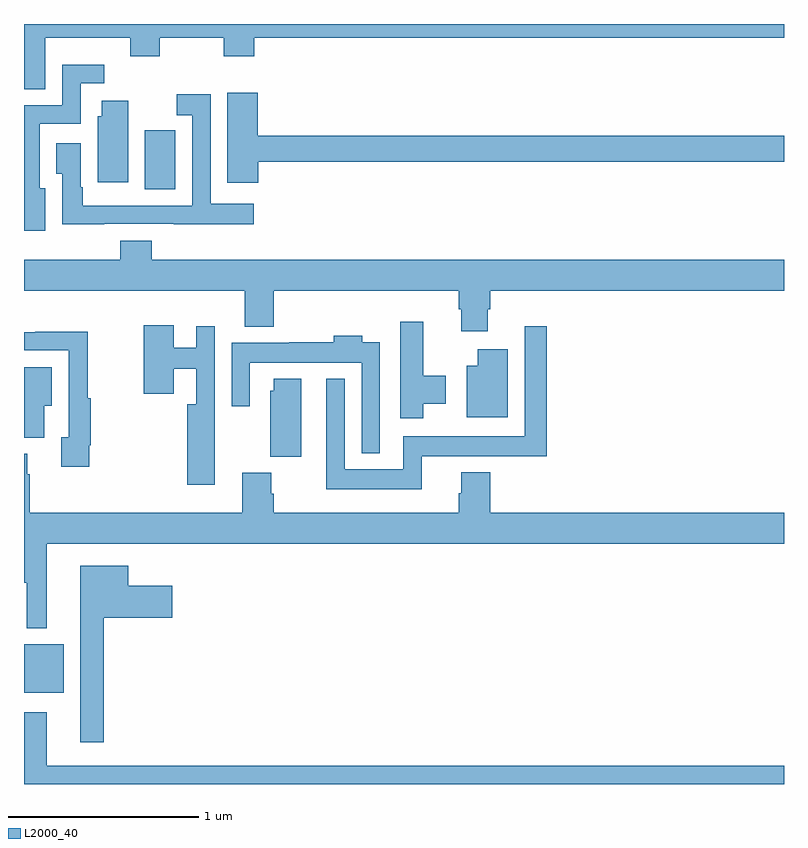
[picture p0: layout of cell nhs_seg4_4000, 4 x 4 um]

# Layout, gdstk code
import gdstk
lib = gdstk.Library(unit=1e-6, precision=1e-09)
def R(c, l, rs):  # rectangles x0, y0, x1, y1
    for r in rs: c.add(gdstk.rectangle(r[:2], r[2:], *l))
def P(c, l, *ps):  # polygons
    for p in ps: c.add(gdstk.Polygon(p, *l))
L2000_40 = (2000, 40)

nhs_seg4_4000 = lib.new_cell('nhs_seg4_4000')
R(nhs_seg4_4000, L2000_40, [(323,785.381,323.209,785.635), (323.636,788.029,323.797,788.34)])
P(nhs_seg4_4000, L2000_40, [(323.113,788.828),(323.56,788.828),(323.56,788.729),(323.715,788.729),(323.715,788.828),(324.052,788.828),(324.052,788.729),(324.212,788.729),(324.212,788.828),(327,788.828),(327,788.9),(323,788.9),(323,788.557),(323.113,788.557)],
  [(323.113,788.035),(323.083,788.035),(323.083,788.376),(323.298,788.376),(323.298,788.589),(323.422,788.589),(323.422,788.686),(323.202,788.686),(323.202,788.472),(323,788.472),(323,787.811),(323.113,787.811)],
  [(324.232,788.176),(327,788.176),(327,788.312),(324.23,788.312),(324.23,788.539),(324.071,788.539),(324.071,788.064),(324.232,788.064)],
  [(323.423,787.848),(323.789,787.848),(323.789,787.847),(324.208,787.847),(324.208,787.954),(323.982,787.954),(323.982,788.53),(323.805,788.53),(323.805,788.421),(323.886,788.421),(323.886,787.944),(323.31,787.944),(323.31,788.041),(323.298,788.041),(323.298,788.272),(323.171,788.272),(323.171,788.113),(323.202,788.113),(323.202,787.847),(323.423,787.847)],
  [(323.548,788.497),(323.408,788.497),(323.408,788.415),(323.387,788.415),(323.387,788.067),(323.548,788.067)],
  [(325.441,787.398),(325.454,787.398),(325.454,787.496),(327,787.496),(327,787.66),(323.672,787.66),(323.672,787.759),(323.507,787.759),(323.507,787.66),(323,787.66),(323,787.496),(324.161,787.496),(324.161,787.307),(324.314,787.307),(324.314,787.496),(325.289,787.496),(325.289,787.398),(325.301,787.398),(325.301,787.284),(325.441,787.284)],
  [(325.102,786.902),(325.219,786.902),(325.219,787.05),(325.102,787.05),(325.102,787.333),(324.98,787.333),(324.98,786.825),(325.102,786.825)],
  [(324.004,786.794),(324.003,786.794),(324.003,787.309),(323.907,787.309),(323.907,787.195),(323.788,787.195),(323.788,787.315),(323.63,787.315),(323.63,786.954),(323.788,786.954),(323.788,787.085),(323.907,787.085),(323.907,786.898),(323.858,786.898),(323.858,786.474),(324.004,786.474)],
  [(325.094,786.626),(325.628,786.626),(325.628,786.624),(325.751,786.624),(325.751,787.309),(325.635,787.309),(325.635,786.73),(324.996,786.73),(324.996,786.556),(324.687,786.556),(324.687,787.033),(324.59,787.033),(324.59,786.452),(325.094,786.452)],
  [(323.344,786.682),(323.351,786.682),(323.351,786.929),(323.336,786.929),(323.336,787.28),(323.059,787.28),(323.059,787.278),(323,787.278),(323,787.182),(323.235,787.182),(323.235,786.726),(323.195,786.726),(323.195,786.57),(323.344,786.57)],
  [(324.873,787.225),(324.781,787.225),(324.781,787.258),(324.629,787.258),(324.629,787.225),(324.397,787.225),(324.397,787.222),(324.093,787.222),(324.093,786.888),(324.189,786.888),(324.189,787.118),(324.777,787.118),(324.777,786.641),(324.873,786.641)],
  [(325.546,787.189),(325.388,787.189),(325.388,787.102),(325.331,787.102),(325.331,786.83),(325.546,786.83)],
  [(323.107,786.89),(323.146,786.89),(323.146,787.093),(323,787.093),(323,786.722),(323.107,786.722)],
  [(324.46,787.033),(324.314,787.033),(324.314,786.969),(324.296,786.969),(324.296,786.622),(324.46,786.622)],
  [(323.119,786.164),(327,786.164),(327,786.328),(325.454,786.328),(325.454,786.541),(325.301,786.541),(325.301,786.429),(325.289,786.429),(325.289,786.328),(324.314,786.328),(324.314,786.428),(324.301,786.428),(324.301,786.537),(324.149,786.537),(324.149,786.328),(323.03,786.328),(323.03,786.53),(323.017,786.53),(323.017,786.637),(323,786.637),(323,785.959),(323.015,785.959),(323.015,785.72),(323.119,785.72)],
  [(323.419,785.774),(323.779,785.774),(323.779,785.944),(323.548,785.944),(323.548,786.049),(323.297,786.049),(323.297,785.121),(323.419,785.121)],
  [(327,784.996),(323.119,784.996),(323.119,785.278),(323,785.278),(323,784.9),(327,784.9)])

lib.write_gds('nhs_seg4_4000.gds')
